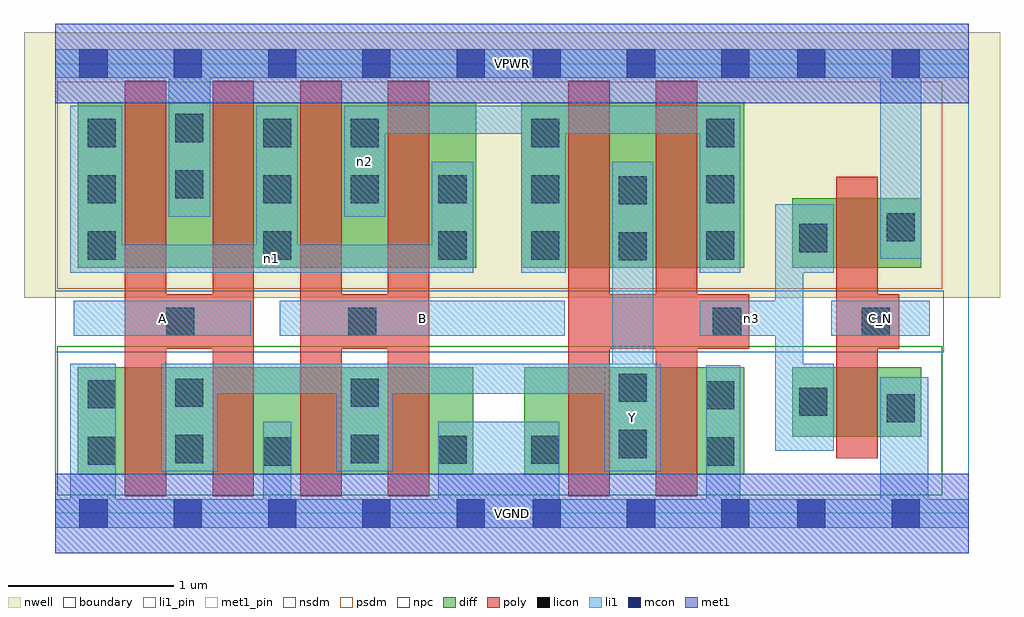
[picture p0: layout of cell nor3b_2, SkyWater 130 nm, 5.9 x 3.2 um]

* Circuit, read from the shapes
.subckt nor3b_2 A B C_N VGND VPWR Y n1 n2 n3
XM1 Y A VGND VSUBS sky130_fd_pr__nfet_01v8 w=0.65 l=0.25 m=2
XM2 Y B VGND VSUBS sky130_fd_pr__nfet_01v8 w=0.65 l=0.25 m=2
XM3 Y n3 VGND VSUBS sky130_fd_pr__nfet_01v8 w=0.65 l=0.25 m=2
XM4 VGND C_N n3 VSUBS sky130_fd_pr__nfet_01v8 w=0.42 l=0.25
XM5 VPWR A n1 n4 sky130_fd_pr__pfet_01v8 w=1 l=0.25 m=2
XM6 n2 B n1 n4 sky130_fd_pr__pfet_01v8 w=1 l=0.25 m=2
XM7 Y n3 n2 n4 sky130_fd_pr__pfet_01v8 w=1 l=0.25 m=2
XM8 VPWR C_N n3 n4 sky130_fd_pr__pfet_01v8 w=0.42 l=0.25
.ends

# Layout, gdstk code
import gdstk
lib = gdstk.Library(unit=1e-6, precision=1e-09)
def R(c, l, rs):  # rectangles x0, y0, x1, y1
    for r in rs: c.add(gdstk.rectangle(r[:2], r[2:], *l))
def A(c, l, x, y, w, h, nx, ny, dx, dy):  # array of equal rectangles
    R(c, l, [(x+i*dx, y+j*dy, x+i*dx+w, y+j*dy+h) for i in range(nx) for j in range(ny)])
nwell = (64, 20)
diff = (65, 20)
poly = (66, 20)
licon = (66, 44)
li1_pin = (67, 16)
li1 = (67, 20)
mcon = (67, 44)
met1_pin = (68, 16)
met1 = (68, 20)
nsdm = (93, 44)
psdm = (94, 20)
npc = (95, 20)
boundary = (235, 4)

nor3b_2 = lib.new_cell('nor3b_2')
R(nor3b_2, nwell, [(-0.19,1.305,5.71,2.91), (0,1.305,5.52,2.91)])
R(nor3b_2, diff, [(0.135,0.235,2.525,0.885), (2.835,0.235,4.165,0.885), (4.455,0.465,5.235,0.885), (0.135,1.485,2.545,2.485), (2.815,1.485,4.165,2.485), (4.455,1.485,5.235,1.905)])
A(nor3b_2, poly, 0.42, 0.105, 0.25, 2.51, 4, 1, 0.53, 0)
R(nor3b_2, poly, [(3.1,0.105,3.35,2.615), (3.63,0.105,3.88,2.615), (4.72,0.335,4.97,2.035), (0.42,0.995,1.2,1.325), (1.48,0.995,2.26,1.325), (3.1,0.995,4.195,1.325), (4.72,0.995,5.1,1.325)])
A(nor3b_2, licon, 0.195, 1.535, 0.17, 0.17, 3, 1, 1.06, 0)
A(nor3b_2, licon, 2.875, 1.535, 0.17, 0.17, 1, 3, 0, 0.34)
A(nor3b_2, licon, 3.935, 1.535, 0.17, 0.17, 1, 3, 0, 0.34)
A(nor3b_2, licon, 1.255, 1.875, 0.17, 0.17, 3, 1, 0.53, 0)
R(nor3b_2, licon, [(1.255,0.29,1.425,0.46), (3.935,0.29,4.105,0.46), (0.195,0.295,0.365,0.465), (2.315,0.3,2.485,0.47), (2.875,0.3,3.045,0.47), (0.725,0.305,0.895,0.475), (1.785,0.305,1.955,0.475), (3.405,0.335,3.575,0.505), (5.025,0.55,5.195,0.72), (4.495,0.59,4.665,0.76), (3.935,0.63,4.105,0.8), (0.195,0.635,0.365,0.805), (0.725,0.645,0.895,0.815), (1.785,0.645,1.955,0.815), (3.405,0.675,3.575,0.845), (0.67,1.075,0.84,1.245), (1.77,1.075,1.94,1.245), (3.975,1.075,4.145,1.245), (4.875,1.075,5.045,1.245), (3.405,1.53,3.575,1.7), (4.495,1.58,4.665,1.75), (5.025,1.645,5.195,1.815), (3.405,1.87,3.575,2.04), (0.195,1.875,0.365,2.045), (0.725,1.905,0.895,2.075), (0.195,2.215,0.365,2.385), (1.255,2.215,1.425,2.385), (1.785,2.215,1.955,2.385), (0.725,2.245,0.895,2.415)])
R(nor3b_2, li1_pin, [(3.32,0.255,3.66,0.905), (0.11,1.075,1.18,1.285), (1.355,1.075,3.08,1.285), (4.69,1.075,5.285,1.285)])
R(nor3b_2, li1, [(0,-0.085,5.52,0.085), (0.09,-0.085,0.365,0.905), (1.255,-0.085,1.425,0.555), (2.315,-0.085,3.045,0.555), (3.935,-0.085,4.14,0.895), (4.985,-0.085,5.275,0.825), (0.64,0.255,0.98,0.905), (1.7,0.255,2.04,0.905), (3.32,0.255,3.66,0.905), (3.365,0.255,3.615,2.125), (4.35,0.38,4.52,1.87), (4.35,0.38,4.705,0.905), (0.64,0.725,3.66,0.905), (0.11,1.075,1.18,1.285), (1.355,1.075,3.08,1.285), (3.895,1.075,4.52,1.285), (4.69,1.075,5.285,1.285), (0.09,1.455,2.525,1.625), (0.09,1.455,0.405,2.465), (1.215,1.455,1.465,2.465), (2.275,1.455,2.525,2.125), (2.815,1.455,3.085,2.465), (3.895,1.455,4.14,2.465), (4.35,1.455,4.705,1.87), (4.985,1.54,5.235,2.805), (0.685,1.795,0.935,2.805), (1.745,1.795,1.995,2.465), (1.745,2.295,4.14,2.465), (0,2.635,5.52,2.805)])
A(nor3b_2, mcon, 0.145, -0.085, 0.17, 0.17, 5, 2, 0.57, 2.72)
A(nor3b_2, mcon, 2.885, -0.085, 0.17, 0.17, 3, 2, 0.57, 2.72)
R(nor3b_2, mcon, [(4.485,-0.085,4.655,0.085), (5.055,-0.085,5.225,0.085), (4.485,2.635,4.655,2.805), (5.055,2.635,5.225,2.805)])
R(nor3b_2, met1_pin, [(0,-0.24,5.52,0.24), (0,2.48,5.52,2.96)])
R(nor3b_2, met1, [(0,-0.24,5.52,0.24), (0,2.48,5.52,2.96)])
R(nor3b_2, nsdm, [(0.01,0.11,5.36,1.01)])
R(nor3b_2, psdm, [(0.01,1.36,5.36,2.61)])
R(nor3b_2, npc, [(0,0.975,5.37,1.345)])
R(nor3b_2, boundary, [(0,0,5.52,2.72)])
nor3b_2.add(gdstk.Label('A', (0.645,1.18), layer=67, texttype=5))
nor3b_2.add(gdstk.Label('B', (2.217,1.18), layer=67, texttype=5))
nor3b_2.add(gdstk.Label('C_N', (4.987,1.18), layer=67, texttype=5))
nor3b_2.add(gdstk.Label('Y', (3.49,0.58), layer=67, texttype=5))
nor3b_2.add(gdstk.Label('n3', (4.207,1.18), layer=67, texttype=5))
nor3b_2.add(gdstk.Label('n1', (1.307,1.54), layer=67, texttype=5))
nor3b_2.add(gdstk.Label('n2', (1.87,2.13), layer=67, texttype=5))
nor3b_2.add(gdstk.Label('VPWR', (2.76,2.72), layer=68, texttype=5))
nor3b_2.add(gdstk.Label('VGND', (2.76,0), layer=68, texttype=5))
nor3b_2.add(gdstk.Label('A', (0.645,1.18), layer=67, texttype=16))
nor3b_2.add(gdstk.Label('B', (2.217,1.18), layer=67, texttype=16))
nor3b_2.add(gdstk.Label('C_N', (4.987,1.18), layer=67, texttype=16))
nor3b_2.add(gdstk.Label('Y', (3.49,0.58), layer=67, texttype=16))
nor3b_2.add(gdstk.Label('VPWR', (2.76,2.72), layer=68, texttype=16))
nor3b_2.add(gdstk.Label('VGND', (2.76,0), layer=68, texttype=16))

lib.write_gds('nor3b_2.gds')
